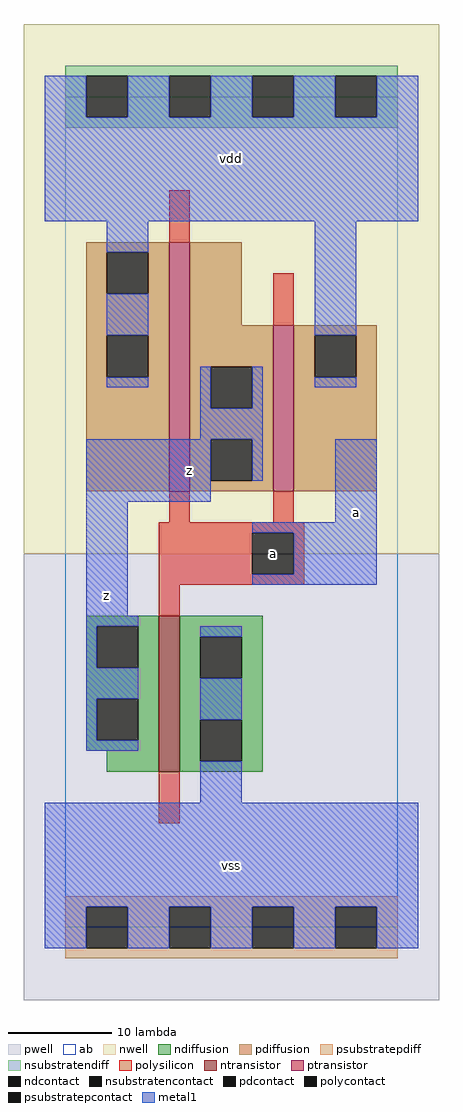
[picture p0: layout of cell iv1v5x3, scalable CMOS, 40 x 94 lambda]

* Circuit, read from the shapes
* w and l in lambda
.subckt iv1v5x3 a vdd vss z
M1 vss a z vss nfet w=15 l=2
M2 z a vdd vdd pfet w=24 l=2
M3 vdd a z vdd pfet w=16 l=2
.ends

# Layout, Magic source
magic
tech scmos
<< ab >>
rect 0 0 32 80
<< pwell >>
rect -4 -7 36 36
<< nwell >>
rect -4 36 36 87
<< polysilicon >>
rect 10 66 12 71
rect 20 58 22 63
rect 10 39 12 42
rect 20 39 22 42
rect 9 38 23 39
rect 9 34 18 38
rect 22 34 23 38
rect 9 33 23 34
rect 9 30 11 33
rect 9 10 11 15
<< ndiffusion >>
rect 2 29 9 30
rect 2 25 3 29
rect 7 25 9 29
rect 2 22 9 25
rect 2 18 3 22
rect 7 18 9 22
rect 2 17 9 18
rect 4 15 9 17
rect 11 28 19 30
rect 11 24 13 28
rect 17 24 19 28
rect 11 20 19 24
rect 11 16 13 20
rect 17 16 19 20
rect 11 15 19 16
<< pdiffusion >>
rect 2 65 10 66
rect 2 61 4 65
rect 8 61 10 65
rect 2 57 10 61
rect 2 53 4 57
rect 8 53 10 57
rect 2 42 10 53
rect 12 58 17 66
rect 12 54 20 58
rect 12 50 14 54
rect 18 50 20 54
rect 12 47 20 50
rect 12 43 14 47
rect 18 43 20 47
rect 12 42 20 43
rect 22 57 30 58
rect 22 53 24 57
rect 28 53 30 57
rect 22 42 30 53
<< metal1 >>
rect -2 78 2 82
rect 6 78 10 82
rect 14 78 18 82
rect 22 78 26 82
rect 30 78 34 82
rect -2 68 34 78
rect 4 65 8 68
rect 4 57 8 61
rect 24 57 28 68
rect 4 52 8 53
rect 13 50 14 54
rect 18 50 19 54
rect 24 52 28 53
rect 13 47 19 50
rect 2 41 14 47
rect 18 43 19 47
rect 2 30 6 41
rect 26 39 30 47
rect 18 38 30 39
rect 22 34 30 38
rect 18 33 30 34
rect 2 29 7 30
rect 2 25 3 29
rect 2 22 7 25
rect 2 18 3 22
rect 2 17 7 18
rect 13 28 17 29
rect 13 20 17 24
rect 13 12 17 16
rect -2 2 34 12
rect -2 -2 2 2
rect 6 -2 10 2
rect 14 -2 18 2
rect 22 -2 26 2
rect 30 -2 34 2
<< ntransistor >>
rect 9 15 11 30
<< ptransistor >>
rect 10 42 12 66
rect 20 42 22 58
<< polycontact >>
rect 18 34 22 38
<< ndcontact >>
rect 3 25 7 29
rect 3 18 7 22
rect 13 24 17 28
rect 13 16 17 20
<< pdcontact >>
rect 4 61 8 65
rect 4 53 8 57
rect 14 50 18 54
rect 14 43 18 47
rect 24 53 28 57
<< psubstratepcontact >>
rect 2 -2 6 2
rect 10 -2 14 2
rect 18 -2 22 2
rect 26 -2 30 2
<< nsubstratencontact >>
rect 2 78 6 82
rect 10 78 14 82
rect 18 78 22 82
rect 26 78 30 82
<< psubstratepdiff >>
rect 0 2 32 3
rect 0 -2 2 2
rect 6 -2 10 2
rect 14 -2 18 2
rect 22 -2 26 2
rect 30 -2 32 2
rect 0 -3 32 -2
<< nsubstratendiff >>
rect 0 82 32 83
rect 0 78 2 82
rect 6 78 10 82
rect 14 78 18 82
rect 22 78 26 82
rect 30 78 32 82
rect 0 77 32 78
<< labels >>
rlabel metal1 4 32 4 32 6 z
rlabel metal1 12 44 12 44 6 z
rlabel metal1 16 6 16 6 6 vss
rlabel polycontact 20 36 20 36 6 a
rlabel metal1 16 74 16 74 6 vdd
rlabel metal1 28 40 28 40 6 a
<< end >>
